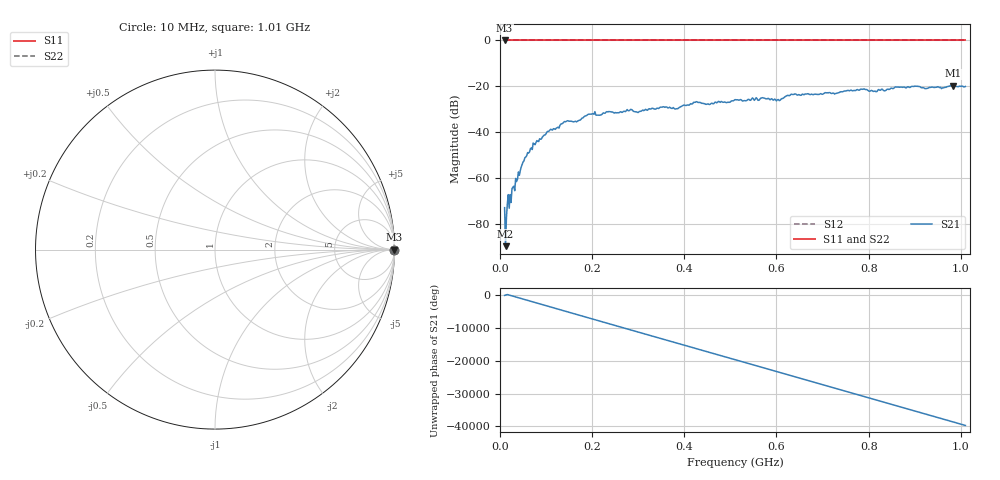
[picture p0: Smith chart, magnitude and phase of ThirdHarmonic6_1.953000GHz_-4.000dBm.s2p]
! 8/16/2025 11:30:40 PM
! C:\ANRITSUVNA\TEMP\TEMP.S2P
! CHANNEL.1
! TR.MEASUREMENT
! RAW.DATA
! RF.CORRECTION.OFF
! AVERAGING.OFF
! IF.BANDWIDTH: 5KHZ
! SWEEPTYPE:  FREQ.SWEEP(Linear)
! Reference Plane Port Info
! PORT:  PORT1  PORT2
! DISTANCE:  0  m  0  m
! TIME:  0  s  0  s
! PHASE.OFFSET:  0  deg.  0  deg.
! LOSS:  0  dB  0  dB
! REF.LOSS:  0  dB  0  dB
! REF.FREQ:  0  Hz  0  Hz
! Power Info
! POWER:  -20  dBm  -20  dBm
! EFF.POWER:  -20  dBm  -20  dBm
! SOURCE.ATTEN:  0  dB  0  dB
! TEST.ATTEN:  0  dB  0  dB
# GHZ S RI R 50.0
! FREQ.GHZ  S11RE  S11IM  S21RE  S21IM  S12RE  S12IM  S22RE  S22IM
!; PortSelection: Port_12
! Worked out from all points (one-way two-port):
!   501 points, 10 MHz to 1.01 GHz, reference 50 ohm
!   highest |S21| = -19.79 dB at 984 MHz (marker M1); lowest = -89.9 dB at 12 MHz (marker M2)
!   lowest |S11| = 0.0 dB at 10 MHz (marker M3)
!   |S11| at or under -10 dB: nowhere
!   |S22| runs from 0.0 to 0.0 dB; largest |S21 - S12| = 1.1
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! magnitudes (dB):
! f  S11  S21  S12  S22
! 10 MHz  0.0  -73.1  0.0  0.0
! 12 MHz  0.0  -89.9  0.0  0.0
! 16 MHz  0.0  -71.3  0.0  0.0
! 18 MHz  0.0  -67.4  0.0  0.0
! 30 MHz  0.0  -63.7  0.0  0.0
! 50 MHz  0.0  -53.1  0.0  0.0
! 76 MHz  0.0  -45.5  0.0  0.0
! 106 MHz  0.0  -39.7  0.0  0.0
! 142 MHz  0.0  -35.5  0.0  0.0
! 178 MHz  0.0  -33.9  0.0  0.0
! 202 MHz  0.0  -32.1  0.0  0.0
! 344 MHz  0.0  -29.7  0.0  0.0
! 382 MHz  0.0  -29.9  0.0  0.0
! 424 MHz  0.0  -27.0  0.0  0.0
! 452 MHz  0.0  -27.7  0.0  0.0
! 510 MHz  0.0  -25.9  0.0  0.0
! 604 MHz  0.0  -25.8  0.0  0.0
! 636 MHz  0.0  -23.6  0.0  0.0
! 678 MHz  0.0  -23.6  0.0  0.0
! 844 MHz  0.0  -21.4  0.0  0.0
! 984 MHz  0.0  -19.8  0.0  0.0
! 1.01 GHz  0.0  -20.1  0.0  0.0
